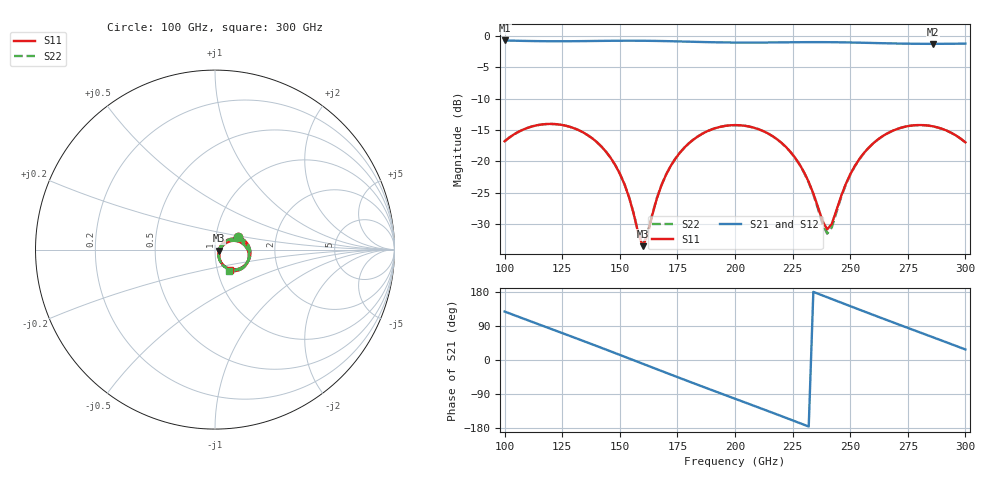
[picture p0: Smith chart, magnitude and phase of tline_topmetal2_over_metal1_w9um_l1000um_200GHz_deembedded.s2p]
! Created with skrf 2.2.0 (http://scikit-rf.org).
# GHz S DB R 50.0
! Port[1] = P1
! Port[2] = P2
!freq dBS11 angS11 dBS21 angS21 dBS12 angS12 dBS22 angS22
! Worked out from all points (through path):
!   101 points, 100 GHz to 300 GHz, reference 50 ohm
!   highest |S21| = -0.73 dB at 100 GHz (marker M1); lowest = -1.3 dB at 286 GHz (marker M2)
!   group delay of S21, straight-line fit = 6.4 ps
!   lowest |S11| = -33.5 dB at 160 GHz (marker M3), VSWR 1.04, Z = 52.1 - j0.576 ohm
!   |S11| at or under -10 dB: start of sweep to end of sweep
!   |S22| runs from -33.2 to -14.0 dB; largest |S21 - S12| = 1e-13
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100  -16.80 29.2  -0.73 127.9  -0.73 127.9  -16.80 29.1
116  -14.12 -2.6  -0.84 91.4  -0.84 91.4  -14.12 -2.8
124  -14.14 -18.8  -0.86 73.3  -0.86 73.3  -14.14 -18.9
134  -15.36 -38.8  -0.83 50.6  -0.83 50.6  -15.36 -38.9
142  -17.62 -53.9  -0.80 32.2  -0.80 32.2  -17.62 -54.0
150  -21.95 -65.3  -0.77 13.5  -0.77 13.5  -21.94 -65.3
154  -25.70 -65.5  -0.77 4.1  -0.77 4.1  -25.67 -65.2
160  -33.51 -15.2  -0.78 -10.0  -0.78 -10.0  -33.23 -15.2
168  -23.88 40.3  -0.82 -28.8  -0.82 -28.8  -23.84 39.3
174  -19.63 34.8  -0.87 -42.7  -0.87 -42.7  -19.61 33.9
184  -15.99 17.5  -0.96 -65.8  -0.96 -65.8  -15.98 16.7
200  -14.22 -13.7  -1.06 -102.2  -1.06 -102.2  -14.22 -14.6
210  -14.84 -33.1  -1.07 -124.9  -1.07 -124.9  -14.84 -34.1
220  -16.98 -51.4  -1.04 -147.7  -1.04 -147.7  -17.00 -52.6
228  -20.46 -62.6  -1.01 -166.3  -1.01 -166.3  -20.51 -64.3
234  -25.11 -62.1  -1.00 179.7  -1.00 179.7  -25.26 -64.6
240  -30.84 -19.9  -1.00 165.6  -1.00 165.6  -31.52 -20.9
252  -20.73 29.4  -1.07 137.5  -1.07 137.5  -20.80 30.1
268  -15.19 4.4  -1.20 100.7  -1.20 100.7  -15.20 4.4
276  -14.32 -10.8  -1.25 82.5  -1.25 82.5  -14.33 -10.9
286  -14.42 -29.9  -1.27 59.8  -1.27 59.8  -14.43 -30.2
300  -16.96 -55.0  -1.24 27.8  -1.24 27.8  -16.98 -55.5
